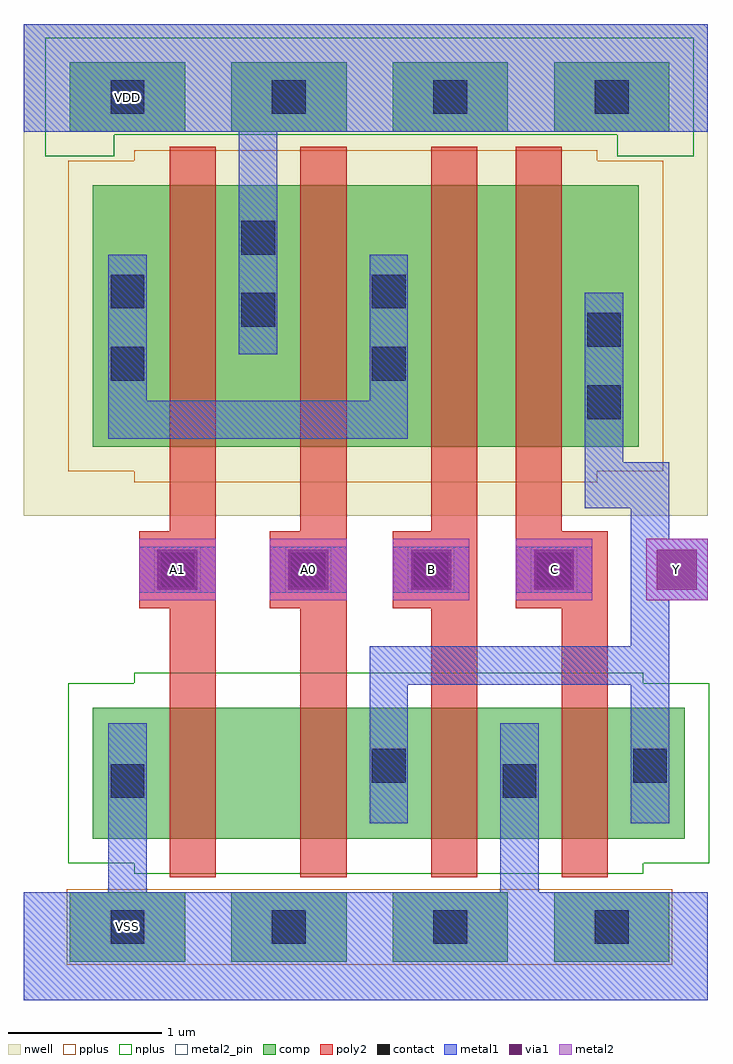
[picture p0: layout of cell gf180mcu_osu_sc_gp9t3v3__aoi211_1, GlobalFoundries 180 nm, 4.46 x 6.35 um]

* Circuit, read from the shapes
.subckt gf180mcu_osu_sc_gp9t3v3__aoi211_1 A0 A1 B C VDD VSS Y
XM1 n1 A1 VSS VSS nfet_03v3 w=0.85u l=0.3u
XM2 Y A0 n1 VSS nfet_03v3 w=0.85u l=0.3u
XM3 VSS B Y VSS nfet_03v3 w=0.85u l=0.3u
XM4 Y C VSS VSS nfet_03v3 w=0.85u l=0.3u
XM5 VDD A1 n2 VDD pfet_03v3 w=1.7u l=0.3u
XM6 n2 A0 VDD VDD pfet_03v3 w=1.7u l=0.3u
XM7 n3 B n2 VDD pfet_03v3 w=1.7u l=0.3u
XM8 Y C n3 VDD pfet_03v3 w=1.7u l=0.3u
.ends

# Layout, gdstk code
import gdstk
lib = gdstk.Library(unit=1e-6, precision=1e-09)
def R(c, l, rs):  # rectangles x0, y0, x1, y1
    for r in rs: c.add(gdstk.rectangle(r[:2], r[2:], *l))
def A(c, l, x, y, w, h, nx, ny, dx, dy):  # array of equal rectangles
    R(c, l, [(x+i*dx, y+j*dy, x+i*dx+w, y+j*dy+h) for i in range(nx) for j in range(ny)])
nwell = (21, 0)
comp = (22, 0)
poly2 = (30, 0)
pplus = (31, 0)
nplus = (32, 0)
contact = (33, 0)
metal1 = (34, 0)
via1 = (35, 0)
metal2 = (36, 0)
metal2_pin = (36, 10)

gf180mcu_osu_sc_gp9t3v3_ = lib.new_cell('gf180mcu_osu_sc_gp9t3v3__aoi211_1')
R(gf180mcu_osu_sc_gp9t3v3_, nwell, [(0,3.15,4.45,6.35)])
A(gf180mcu_osu_sc_gp9t3v3_, comp, 0.3, 0.25, 0.75, 0.45, 4, 2, 1.05, 5.4)
R(gf180mcu_osu_sc_gp9t3v3_, comp, [(0.45,1.05,4.3,1.9), (0.45,3.6,4,5.3)])
A(gf180mcu_osu_sc_gp9t3v3_, poly2, 0.95, 0.8, 0.3, 1.75, 4, 1, 0.85, 0)
A(gf180mcu_osu_sc_gp9t3v3_, poly2, 0.95, 3.05, 0.3, 2.5, 3, 1, 0.85, 0)
R(gf180mcu_osu_sc_gp9t3v3_, poly2, [(0.75,2.55,1.25,3.05), (1.6,2.55,2.1,3.05), (2.4,2.55,2.95,3.05), (3.2,2.55,3.8,3.05), (3.2,3.05,3.5,5.55)])
R(gf180mcu_osu_sc_gp9t3v3_, pplus, [(0.28,0.23,4.22,0.72), (0.72,3.37,3.73,3.44), (0.29,3.44,4.16,5.46), (0.72,5.46,3.73,5.53)])
R(gf180mcu_osu_sc_gp9t3v3_, nplus, [(0.72,0.82,4.03,0.89), (0.29,0.89,4.46,2.06), (0.72,2.06,4.03,2.13), (0.14,5.49,0.59,5.63), (3.86,5.49,4.36,5.63), (0.14,5.63,4.36,6.26)])
A(gf180mcu_osu_sc_gp9t3v3_, contact, 0.565, 0.365, 0.22, 0.22, 4, 2, 1.05, 5.4)
A(gf180mcu_osu_sc_gp9t3v3_, contact, 1.74, 2.69, 0.22, 0.22, 3, 1, 0.8, 0)
R(gf180mcu_osu_sc_gp9t3v3_, contact, [(0.565,1.315,0.785,1.535), (3.115,1.315,3.335,1.535), (2.265,1.415,2.485,1.635), (3.965,1.415,4.185,1.635), (0.89,2.69,1.11,2.91), (3.665,3.78,3.885,4), (0.565,4.03,0.785,4.25), (2.265,4.03,2.485,4.25), (3.665,4.25,3.885,4.47), (1.415,4.38,1.635,4.6), (0.565,4.5,0.785,4.72), (2.265,4.5,2.485,4.72), (1.415,4.85,1.635,5.07)])
A(gf180mcu_osu_sc_gp9t3v3_, metal1, 1.6, 2.65, 0.5, 0.3, 3, 1, 0.8, 0)
R(gf180mcu_osu_sc_gp9t3v3_, metal1, [(0,0,4.45,0.7), (0.55,0.7,0.8,1.8), (3.1,0.7,3.35,1.8), (2.25,1.15,2.5,2.05), (3.95,1.15,4.2,2.05), (2.25,2.05,4.2,2.3), (3.95,2.3,4.2,2.6), (3.95,2.6,4.45,3), (0.75,2.65,1.25,2.95), (3.95,3,4.2,3.2), (3.65,3.2,4.2,3.5), (3.65,3.5,3.9,4.6), (0.55,3.65,2.5,3.9), (0.55,3.9,0.8,4.85), (2.25,3.9,2.5,4.85), (1.4,4.2,1.65,5.65), (0,5.65,4.45,6.35)])
A(gf180mcu_osu_sc_gp9t3v3_, via1, 1.72, 2.67, 0.26, 0.26, 4, 1, 0.8, 0)
R(gf180mcu_osu_sc_gp9t3v3_, via1, [(0.87,2.67,1.13,2.93)])
A(gf180mcu_osu_sc_gp9t3v3_, metal2, 1.6, 2.6, 0.5, 0.4, 3, 1, 0.8, 0)
R(gf180mcu_osu_sc_gp9t3v3_, metal2, [(0.75,2.6,1.25,3), (4.05,2.6,4.45,3)])
A(gf180mcu_osu_sc_gp9t3v3_, metal2_pin, 1.7, 2.65, 0.3, 0.3, 3, 1, 0.8, 0)
R(gf180mcu_osu_sc_gp9t3v3_, metal2_pin, [(0.85,2.65,1.15,2.95)])
gf180mcu_osu_sc_gp9t3v3_.add(gdstk.Label('Y', (4.25,2.8), layer=34, texttype=10))
gf180mcu_osu_sc_gp9t3v3_.add(gdstk.Label('A0', (1.85,2.8), layer=36, texttype=10))
gf180mcu_osu_sc_gp9t3v3_.add(gdstk.Label('A1', (1,2.8), layer=36, texttype=10))
gf180mcu_osu_sc_gp9t3v3_.add(gdstk.Label('B', (2.65,2.8), layer=36, texttype=10))
gf180mcu_osu_sc_gp9t3v3_.add(gdstk.Label('C', (3.45,2.8), layer=36, texttype=10))
gf180mcu_osu_sc_gp9t3v3_.add(gdstk.Label('VDD', (0.675,5.875), layer=34, texttype=10))
gf180mcu_osu_sc_gp9t3v3_.add(gdstk.Label('VSS', (0.675,0.475), layer=34, texttype=10))

lib.write_gds('gf180mcu_osu_sc_gp9t3v3__aoi211_1.gds')
